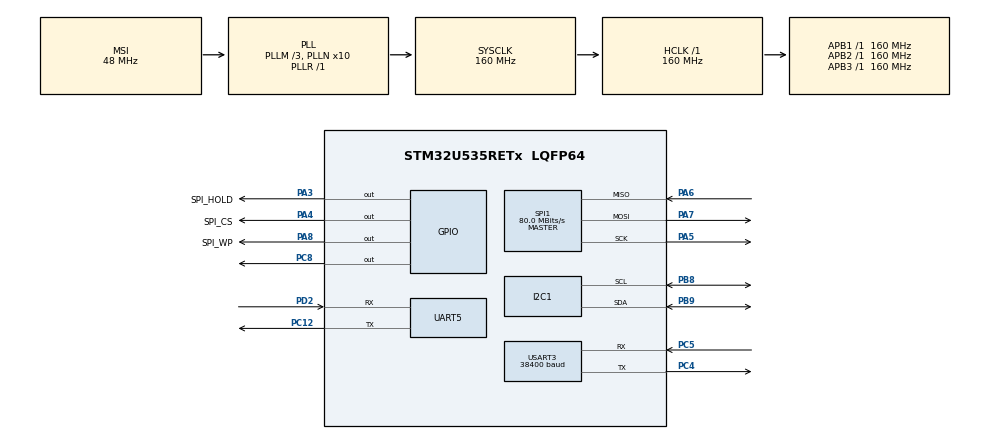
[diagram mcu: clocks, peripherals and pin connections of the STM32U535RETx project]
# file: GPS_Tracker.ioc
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CORTEX_M33_NS.userName=CORTEX_M33
I2C1.Timing=0x30909DEC
Mcu.Family=STM32U5
Mcu.Name=STM32U535RETx
Mcu.Package=LQFP64
NVIC.PriorityGroup=NVIC_PRIORITYGROUP_4
NVIC.UART5_IRQn=true\:0\:0\:false\:false\:true\:true\:true\:true
NVIC.USART3_IRQn=true\:0\:0\:false\:false\:true\:true\:true\:true
PA3.GPIO_Label=SPI_HOLD
PA3.Signal=GPIO_Output
PA4.GPIO_Label=SPI_CS
PA4.Signal=GPIO_Output
PA5.Mode=Full_Duplex_Master
PA5.Signal=SPI1_SCK
PA6.Mode=Full_Duplex_Master
PA6.Signal=SPI1_MISO
PA7.Mode=Full_Duplex_Master
PA7.Signal=SPI1_MOSI
PA8.GPIO_Label=SPI_WP
PA8.Signal=GPIO_Output
PB8.Mode=I2C
PB8.Signal=I2C1_SCL
PB9.Mode=I2C
PB9.Signal=I2C1_SDA
PC12.Mode=Asynchronous
PC12.Signal=UART5_TX
PC4.Mode=Asynchronous
PC4.Signal=USART3_TX
PC5.Mode=Asynchronous
PC5.Signal=USART3_RX
PC8.PinState=GPIO_PIN_SET
PC8.Signal=GPIO_Output
PD2.Mode=Asynchronous
PD2.Signal=UART5_RX
PH0-OSC_IN\ (PH0).Mode=HSE-External-Oscillator
PH0-OSC_IN\ (PH0).Signal=RCC_OSC_IN
PH1-OSC_OUT\ (PH1).Mode=HSE-External-Oscillator
PH1-OSC_OUT\ (PH1).Signal=RCC_OSC_OUT
ProjectManager.HeapSize=0x200
ProjectManager.StackSize=0x400
ProjectManager.TargetToolchain=STM32CubeIDE
RCC.ADCFreq_Value=16000000
RCC.AHBFreq_Value=160000000
RCC.APB1Freq_Value=160000000
RCC.APB1TimFreq_Value=160000000
RCC.APB2Freq_Value=160000000
RCC.APB2TimFreq_Value=160000000
RCC.APB3Freq_Value=160000000
RCC.CortexFreq_Value=160000000
RCC.DACCLockSelectionVirtual=RCC_DAC1CLKSOURCE_LSI
RCC.DACCLockSelectionVirtualString=RCC_DAC1CLKSOURCE_LSI
RCC.EPOD_VALUE=48000000
RCC.HCLKFreq_Value=160000000
RCC.HSE_VALUE=16000000
RCC.HSI48_VALUE=48000000
RCC.HSI_VALUE=16000000
RCC.LSE_VALUE=32768
RCC.LSIDIV_VALUE=32000
RCC.MSIClockRange=RCC_MSIRANGE_0
RCC.MSI_VALUE=48000000
RCC.PLL1R=1
RCC.PLL2FRACN=0
RCC.PLL3FRACN=0
RCC.PLLFRACN=0
RCC.PLLM=3
RCC.PLLN=10
RCC.SYSCLKFreq_VALUE=160000000
RCC.SYSCLKSource=RCC_SYSCLKSOURCE_PLLCLK
RCC.USBFreq_Value=48000000
RCC.VCOOutputFreq_Value=160000000
SPI1.CLKPhase=SPI_PHASE_1EDGE
SPI1.CLKPolarity=SPI_POLARITY_LOW
SPI1.CalculateBaudRate=80.0 MBits/s
SPI1.DataSize=SPI_DATASIZE_8BIT
SPI1.Direction=SPI_DIRECTION_2LINES
SPI1.Mode=SPI_MODE_MASTER
SPI1.VirtualType=VM_MASTER
USART3.BaudRate=38400
USART3.VirtualMode-Asynchronous=VM_ASYNC
VP_LPBAMQUEUE_VS_QUEUE.Mode=QUEUEMODE
VP_LPBAM_VS_SIG1.Mode=SmartRun
VP_LPBAM_VS_SIG4.Mode=LPDMA1
VP_MEMORYMAP_VS_MEMORYMAP.Mode=CurAppReg
VP_PWR_VS_SECSignals.Mode=Security/Privilege
board=custom

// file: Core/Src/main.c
/* USER CODE BEGIN Header */
/**
  ******************************************************************************
  * @file           : main.c
  * @brief          : Main program body
  ******************************************************************************
  * @attention
  *
  * Copyright (c) 2026 STMicroelectronics.
  * All rights reserved.
  *
  * This software is licensed under terms that can be found in the LICENSE file
  * in the root directory of this software component.
  * If no LICENSE file comes with this software, it is provided AS-IS.
  ******************************************************************************
  */
/* USER CODE END Header */
#include "main.h"

#include <string.h>
#include <stdio.h>
#include <stdlib.h>
#include "w25n01.h"
#include "lfs.h"
#include "lfs_port.h"
#include "gps_logger.h"
/* USER CODE END Includes */

I2C_HandleTypeDef hi2c1;

SPI_HandleTypeDef hspi1;

UART_HandleTypeDef huart5;
UART_HandleTypeDef huart3;

/* USER CODE BEGIN PV */
#define RX_BUFFER_SIZE 300

uint8_t rx_char;
char rx_buffer[RX_BUFFER_SIZE];
uint16_t rx_index = 0;

uint8_t uart_rx_char;
uint8_t cmd_char;
uint8_t cmd_received = 0;
typedef enum
{
    LOGGER_MODE = 0,
    MENU_MODE
} SystemMode_t;

SystemMode_t systemMode = LOGGER_MODE;

#define LIS2DH12_ADDR     (0x19 << 1)

#define CTRL_REG1         0x20
#define OUT_X_L           0x28

uint32_t last_output_time = 0;

char gps_date[16] = "NA";
char gps_time_ist[16] = "NA";

double latitude_dd = 0.0;
double longitude_dd = 0.0;

uint8_t waitingFileNumber = 0;
uint8_t waitingDeleteConfirm = 0;
uint8_t selectedFileIndex = 0;
uint8_t currentMenu = 0;

uint8_t flash_id[3];
//uint16_t flashPage = 64;

//uint8_t firstWrite = 1;
/* USER CODE END PV */

void SystemClock_Config(void);
static void MX_GPIO_Init(void);
static void MX_UART5_Init(void);
static void MX_USART3_UART_Init(void);
static void MX_I2C1_Init(void);
static void MX_SPI1_Init(void);
/* USER CODE BEGIN PFP */
void LIS2DH12_Init(void);
void LIS2DH12_Read(int16_t *x, int16_t *y, int16_t *z);

double NMEA_To_Decimal(char *coord);
void Parse_GNRMC(char *sentence);

/* USER CODE END PFP */

/* USER CODE BEGIN 0 */
int _write(int file, char *ptr, int len)
{
    HAL_UART_Transmit(&huart5, (uint8_t*)ptr, len, HAL_MAX_DELAY);
    return len;
}

void PrintMenu(void)
{
    printf("\r\n");
    printf("=================================\r\n");
    printf(" GPS LOGGER MENU\r\n");
    printf("=================================\r\n");
    printf("1. List Files\r\n");
    printf("2. Read File\r\n");
    printf("3. Download File\r\n");
    printf("4. File Size\r\n");
    printf("5. Delete File\r\n");
    printf("6. Exit Menu\r\n");
    printf("=================================\r\n");
    printf("GPS> \r\n");
}

void PrintPrompt(void)
{
	printf("GPS> \r\n");
}

void ExecuteCommand(char cmd)
{
    if(systemMode == LOGGER_MODE)
    {
    	if(cmd == 'M' || cmd == 'm')
    	{
    	    currentMenu = 0;          // Reset submenu
    	    waitingFileNumber = 0;
    	    waitingDeleteConfirm = 0;

    	    systemMode = MENU_MODE;

    	    PrintMenu();
    	}
        else
        {
            printf("Press M for Menu\r\n");
        }

        return;
    }

    if(systemMode == MENU_MODE)
    {
        switch(cmd)
        {

        case '1':
            printf("\r\n");
            GPS_ListFiles();
            PrintPrompt();
            break;

        case '2':

            GPS_ScanFiles();

            if(fileCount == 0)
            {
                printf("\r\nNo Log Files Found\r\n");
                PrintPrompt();
                break;
            }

            currentMenu = 2;

            printf("\r\n");
            printf("========== READ FILE ==========\r\n");
            printf("Select File Number (1-%d)\r\n", fileCount);
            printf("0. Back\r\n");
            printf("Choice : ");

            break;

        case '3':      // Download File
        {
            GPS_ScanFiles();

            if(fileCount == 0)
            {
                printf("\r\nNo Log Files Found\r\n");
                PrintPrompt();
                break;
            }

            currentMenu = 5;

            printf("\r\n");
            printf("\r\n========== DOWNLOAD FILE ==========\r\n");

            GPS_ListFiles();

            printf("\r\nSelect File Number (1-%d)\r\n", fileCount);
            printf("0. Back\r\n");
            printf("Choice : ");
            break;
        }

        case '4':  //File size

            GPS_ScanFiles();

            if(fileCount == 0)
            {
                printf("\r\nNo Log Files Found\r\n");
                PrintPrompt();
                break;
            }

            currentMenu = 3;

            printf("\r\n");
            printf("========== FILE SIZE ==========\r\n");
            printf("Select File Number (1-%d)\r\n", fileCount);
            printf("0. Back\r\n");
            printf("Choice : ");

            break;

        case '5':   //Delete file

            GPS_ScanFiles();

            if(fileCount == 0)
            {
                printf("\r\nNo Log Files Found\r\n");
                PrintPrompt();
                break;
            }

            currentMenu = 4;

            printf("\r\n");
            printf("========== DELETE FILE ==========\r\n");
            printf("Select File Number (1-%d)\r\n", fileCount);
            printf("0. Back\r\n");
            printf("Choice : ");

            break;

        case '6':  //exit
        {
            systemMode = LOGGER_MODE;
            currentMenu = 0;

            printf("\r\nExit Menu\r\n");

            break;
        }

        }
    }
}

void ProcessSelectedFile(uint8_t index)
{
    switch(waitingFileNumber)
    {
        case 2:
            GPS_ReadLog(fileList[index]);
            break;

        case 3:
            GPS_GetFileSize(fileList[index]);
            break;

        case 4:
            selectedFileIndex = index;
            waitingDeleteConfirm = 1;

            printf("\r\nDelete \"%s\" ? (Y/N): ",
                   fileList[selectedFileIndex]);
            break;
    }

    waitingFileNumber = 0;

    if(!waitingDeleteConfirm)
    {
        PrintPrompt();
    }
}
/* USER CODE END 0 */

int main(void)
{

  /* MCU Configuration--------------------------------------------------------*/

  /* Reset of all peripherals, Initializes the Flash interface and the Systick. */
  HAL_Init();

  /* Configure the system clock */
  SystemClock_Config();

  /* Initialize all configured peripherals */
  MX_GPIO_Init();
  MX_UART5_Init();
  MX_USART3_UART_Init();
  MX_I2C1_Init();
  MX_SPI1_Init();
  /* USER CODE BEGIN 2 */

  printf("\r\nBOOT START\r\n");

  W25N01_Init();
  W25N01_Reset();

  printf("FLASH INIT DONE\r\n");

  W25N01_SetFeature(0xA0,0x00);

  HAL_Delay(5);

  HAL_UART_Receive_IT(&huart3, &rx_char, 1);
  HAL_UART_Receive_IT(&huart5, &uart_rx_char, 1);
  HAL_Delay(100);

  LIS2DH12_Init();

  HAL_Delay(100);

  printf("\r\n=================================\r\n");
  printf(" GPS LOGGER STARTED\r\n");
  printf("=================================\r\n");

  /* Initialize LittleFS */
  littlefs_init();

  /* Mount filesystem */
  int err = lfs_mount(&lfs, &cfg);

  if (err)
  {
      printf("\r\n=================================\r\n");
      printf(" LittleFS Mount Failed!\r\n");
      printf(" Error Code : %d\r\n", err);
      printf(" Existing Data Preserved\r\n");
      printf("=================================\r\n");

      /* Do NOT format the flash */
  }
  else
  {
      printf("LittleFS Mounted Successfully\r\n");
  }

  /* USER CODE END 2 */

  /* Infinite loop */
  while (1)
  {

    /* USER CODE BEGIN 3 */
	  if (cmd_received)
	  {
	      cmd_received = 0;
	      if(waitingDeleteConfirm)
	      {
	          if(cmd_char == '\r' || cmd_char == '\n')
	          {
	              continue;
	          }

	          if(cmd_char == 'Y' || cmd_char == 'y')
	          {
	              waitingDeleteConfirm = 0;

	              printf("\r\nDeleting...\r\n\r\n");

	              if(GPS_DeleteLog(fileList[selectedFileIndex]))
	              {
	                  GPS_ScanFiles();
	              }
	          }
	          else if(cmd_char == 'N' || cmd_char == 'n')
	          {
	              waitingDeleteConfirm = 0;

	              printf("\r\nDelete Cancelled\r\n");
	          }
	          else
	          {
	              printf("\r\nInvalid Choice\r\n");
	              continue;
	          }

	          GPS_ScanFiles();

	          if(fileCount == 0)
	          {
	              currentMenu = 0;
	              printf("\r\nNo Log Files Found\r\n");
	              PrintPrompt();
	          }
	          else
	          {
	              printf("\r\n");
	              printf("========== DELETE FILE ==========\r\n");
	              printf("Select File Number (1-%d)\r\n", fileCount);
	              printf("0. Back\r\n");
	              printf("Choice : ");
	          }

	          continue;
	      }

	      if(currentMenu == 2)
	      {
	          if(cmd_char == '0')
	          {
	              currentMenu = 0;
	              PrintPrompt();
	          }
	          else
	          {
	              uint8_t index = cmd_char - '1';

	              if(index < fileCount)
	              {
	                  GPS_ReadLog(fileList[index]);
	              }
	              else
	              {
	                  printf("\r\nInvalid File Number\r\n");
	              }

	              printf("\r\n");
	              printf("Select File Number (1-%d)\r\n", fileCount);
	              printf("0. Back\r\n");
	              printf("Choice : ");
	          }

	          continue;
	      }

	      if(currentMenu == 3)
	      {
	          if(cmd_char == '0')
	          {
	              currentMenu = 0;
	              PrintPrompt();
	              continue;
	          }

	          uint8_t index = cmd_char - '1';

	          if(index < fileCount)
	          {
	              GPS_GetFileSize(fileList[index]);
	          }
	          else
	          {
	              printf("\r\nInvalid File Number\r\n");
	          }

	          printf("\r\n");
	          printf("Select File Number (1-%d)\r\n", fileCount);
	          printf("0. Back\r\n");
	          printf("Choice : ");

	          continue;
	      }

	      if(currentMenu == 4)
	      {
	    	  if(cmd_char == 0)
	    	      {
	    	          continue;
	    	      }

	          if(cmd_char == '0')
	          {
	              currentMenu = 0;
	              PrintPrompt();
	              continue;
	          }

	          uint8_t index = cmd_char - '1';

	          if(index < fileCount)
	          {
	              selectedFileIndex = index;

	              waitingDeleteConfirm = 1;

	              printf("\r\nDelete \"%s\" ? (Y/N): ",
	                     fileList[selectedFileIndex]);

	              fflush(stdout);

	              continue;
	          }
	          else
	          {
	              printf("\r\nInvalid File Number\r\n");

	              printf("\r\n");
	              printf("Select File Number (1-%d)\r\n", fileCount);
	              printf("0. Back\r\n");
	              printf("Choice : ");
	          }
	          cmd_received = 0;
	          continue;
	      }

	      if(currentMenu == 5)
	      {
	          if(cmd_char == '0')
	          {
	              currentMenu = 0;
	              PrintPrompt();
	              continue;
	          }

	          uint8_t index = cmd_char - '1';

	          if(index < fileCount)
	          {
	              GPS_DownloadLog(fileList[index]);

	              currentMenu = 0;
	              PrintPrompt();
	          }
	          else
	          {
	              printf("\r\nInvalid File Number\r\n");

	              printf("\r\n");
	              printf("========== DOWNLOAD FILE ==========\r\n");

	              GPS_ListFiles();

	              printf("\r\nSelect File Number (1-%d)\r\n", fileCount);
	              printf("0. Back\r\n");
	              printf("Choice : ");
	          }

	          continue;
	      }

	      else if(waitingFileNumber != 0)
	      {
	          uint8_t index = cmd_char - '1';

	          if(index < fileCount)
	          {
	              ProcessSelectedFile(index);
	          }
	          else
	          {
	              printf("\r\nInvalid File Number\r\n");
	          }
	      }
	      else
	      {
	          ExecuteCommand(cmd_char);
	          cmd_char = 0;
	      }
	  }

	  if(systemMode == LOGGER_MODE &&
	     HAL_GetTick() - last_output_time >= 5000)

	    {
	    	//flashPage = 64;
	        last_output_time = HAL_GetTick();

	        int16_t x, y, z;

	        LIS2DH12_Read(&x, &y, &z);

	        char logBuffer[128];
	        sprintf(logBuffer,
	                "DATE=%s TIME=%s LAT=%.6f LON=%.6f X=%d Y=%d Z=%d",
	                gps_date,
	                gps_time_ist,
	                latitude_dd,
	                longitude_dd,
	                x,
	                y,
	                z);

	        if (strcmp(gps_date, "NA") != 0)
	        {
	            printf("%s\r\n", logBuffer);
	            GPS_Log(logBuffer);
	        }
	        else
	        {
	            printf("Waiting for GPS date...\r\n");
	        }
	    }

  }
  /* USER CODE END 3 */
}

void SystemClock_Config(void)
{
  RCC_OscInitTypeDef RCC_OscInitStruct = {0};
  RCC_ClkInitTypeDef RCC_ClkInitStruct = {0};

  /** Configure the main internal regulator output voltage
  */
  if (HAL_PWREx_ControlVoltageScaling(PWR_REGULATOR_VOLTAGE_SCALE1) != HAL_OK)
  {
    Error_Handler();
  }

  /** Initializes the CPU, AHB and APB buses clocks
  */
  RCC_OscInitStruct.OscillatorType = RCC_OSCILLATORTYPE_MSI;
  RCC_OscInitStruct.MSIState = RCC_MSI_ON;
  RCC_OscInitStruct.MSICalibrationValue = RCC_MSICALIBRATION_DEFAULT;
  RCC_OscInitStruct.MSIClockRange = RCC_MSIRANGE_0;
  RCC_OscInitStruct.PLL.PLLState = RCC_PLL_ON;
  RCC_OscInitStruct.PLL.PLLSource = RCC_PLLSOURCE_MSI;
  RCC_OscInitStruct.PLL.PLLMBOOST = RCC_PLLMBOOST_DIV4;
  RCC_OscInitStruct.PLL.PLLM = 3;
  RCC_OscInitStruct.PLL.PLLN = 10;
  RCC_OscInitStruct.PLL.PLLP = 2;
  RCC_OscInitStruct.PLL.PLLQ = 2;
  RCC_OscInitStruct.PLL.PLLR = 1;
  RCC_OscInitStruct.PLL.PLLRGE = RCC_PLLVCIRANGE_1;
  RCC_OscInitStruct.PLL.PLLFRACN = 0;
  if (HAL_RCC_OscConfig(&RCC_OscInitStruct) != HAL_OK)
  {
    Error_Handler();
  }

  /** Initializes the CPU, AHB and APB buses clocks
  */
  RCC_ClkInitStruct.ClockType = RCC_CLOCKTYPE_HCLK|RCC_CLOCKTYPE_SYSCLK
                              |RCC_CLOCKTYPE_PCLK1|RCC_CLOCKTYPE_PCLK2
                              |RCC_CLOCKTYPE_PCLK3;
  RCC_ClkInitStruct.SYSCLKSource = RCC_SYSCLKSOURCE_PLLCLK;
  RCC_ClkInitStruct.AHBCLKDivider = RCC_SYSCLK_DIV1;
  RCC_ClkInitStruct.APB1CLKDivider = RCC_HCLK_DIV1;
  RCC_ClkInitStruct.APB2CLKDivider = RCC_HCLK_DIV1;
  RCC_ClkInitStruct.APB3CLKDivider = RCC_HCLK_DIV1;

  if (HAL_RCC_ClockConfig(&RCC_ClkInitStruct, FLASH_LATENCY_4) != HAL_OK)
  {
    Error_Handler();
  }

}
static void MX_I2C1_Init(void)
{

  hi2c1.Instance = I2C1;
  hi2c1.Init.Timing = 0x30909DEC;
  hi2c1.Init.OwnAddress1 = 0;
  hi2c1.Init.AddressingMode = I2C_ADDRESSINGMODE_7BIT;
  hi2c1.Init.DualAddressMode = I2C_DUALADDRESS_DISABLE;
  hi2c1.Init.OwnAddress2 = 0;
  hi2c1.Init.OwnAddress2Masks = I2C_OA2_NOMASK;
  hi2c1.Init.GeneralCallMode = I2C_GENERALCALL_DISABLE;
  hi2c1.Init.NoStretchMode = I2C_NOSTRETCH_DISABLE;
  if (HAL_I2C_Init(&hi2c1) != HAL_OK)
  {
    Error_Handler();
  }

  /** Configure Analogue filter
  */
  if (HAL_I2CEx_ConfigAnalogFilter(&hi2c1, I2C_ANALOGFILTER_ENABLE) != HAL_OK)
  {
    Error_Handler();
  }

  /** Configure Digital filter
  */
  if (HAL_I2CEx_ConfigDigitalFilter(&hi2c1, 0) != HAL_OK)
  {
    Error_Handler();
  }

}

static void MX_SPI1_Init(void)
{

  SPI_AutonomousModeConfTypeDef HAL_SPI_AutonomousMode_Cfg_Struct = {0};

  /* SPI1 parameter configuration*/
  hspi1.Instance = SPI1;
  hspi1.Init.Mode = SPI_MODE_MASTER;
  hspi1.Init.Direction = SPI_DIRECTION_2LINES;
  hspi1.Init.DataSize = SPI_DATASIZE_8BIT;
  hspi1.Init.CLKPolarity = SPI_POLARITY_HIGH;
  hspi1.Init.CLKPhase = SPI_PHASE_2EDGE;
  hspi1.Init.NSS = SPI_NSS_SOFT;
  hspi1.Init.BaudRatePrescaler = SPI_BAUDRATEPRESCALER_64;
  hspi1.Init.FirstBit = SPI_FIRSTBIT_MSB;
  hspi1.Init.TIMode = SPI_TIMODE_DISABLE;
  hspi1.Init.CRCCalculation = SPI_CRCCALCULATION_DISABLE;
  hspi1.Init.CRCPolynomial = 0x7;
  hspi1.Init.NSSPMode = SPI_NSS_PULSE_DISABLE;
  hspi1.Init.NSSPolarity = SPI_NSS_POLARITY_LOW;
  hspi1.Init.FifoThreshold = SPI_FIFO_THRESHOLD_01DATA;
  hspi1.Init.MasterSSIdleness = SPI_MASTER_SS_IDLENESS_00CYCLE;
  hspi1.Init.MasterInterDataIdleness = SPI_MASTER_INTERDATA_IDLENESS_00CYCLE;
  hspi1.Init.MasterReceiverAutoSusp = SPI_MASTER_RX_AUTOSUSP_DISABLE;
  hspi1.Init.MasterKeepIOState = SPI_MASTER_KEEP_IO_STATE_DISABLE;
  hspi1.Init.IOSwap = SPI_IO_SWAP_DISABLE;
  hspi1.Init.ReadyMasterManagement = SPI_RDY_MASTER_MANAGEMENT_INTERNALLY;
  hspi1.Init.ReadyPolarity = SPI_RDY_POLARITY_HIGH;
  if (HAL_SPI_Init(&hspi1) != HAL_OK)
  {
    Error_Handler();
  }
  HAL_SPI_AutonomousMode_Cfg_Struct.TriggerState = SPI_AUTO_MODE_DISABLE;
  HAL_SPI_AutonomousMode_Cfg_Struct.TriggerSelection = SPI_GRP1_GPDMA_CH0_TCF_TRG;
  HAL_SPI_AutonomousMode_Cfg_Struct.TriggerPolarity = SPI_TRIG_POLARITY_RISING;
  if (HAL_SPIEx_SetConfigAutonomousMode(&hspi1, &HAL_SPI_AutonomousMode_Cfg_Struct) != HAL_OK)
  {
    Error_Handler();
  }

}

static void MX_UART5_Init(void)
{

  huart5.Instance = UART5;
  huart5.Init.BaudRate = 115200;
  huart5.Init.WordLength = UART_WORDLENGTH_8B;
  huart5.Init.StopBits = UART_STOPBITS_1;
  huart5.Init.Parity = UART_PARITY_NONE;
  huart5.Init.Mode = UART_MODE_TX_RX;
  huart5.Init.HwFlowCtl = UART_HWCONTROL_NONE;
  huart5.Init.OverSampling = UART_OVERSAMPLING_16;
  huart5.Init.OneBitSampling = UART_ONE_BIT_SAMPLE_DISABLE;
  huart5.Init.ClockPrescaler = UART_PRESCALER_DIV1;
  huart5.AdvancedInit.AdvFeatureInit = UART_ADVFEATURE_NO_INIT;
  if (HAL_UART_Init(&huart5) != HAL_OK)
  {
    Error_Handler();
  }
  if (HAL_UARTEx_SetTxFifoThreshold(&huart5, UART_TXFIFO_THRESHOLD_1_8) != HAL_OK)
  {
    Error_Handler();
  }
  if (HAL_UARTEx_SetRxFifoThreshold(&huart5, UART_RXFIFO_THRESHOLD_1_8) != HAL_OK)
  {
    Error_Handler();
  }
  if (HAL_UARTEx_DisableFifoMode(&huart5) != HAL_OK)
  {
    Error_Handler();
  }

}

static void MX_USART3_UART_Init(void)
{

  huart3.Instance = USART3;
  huart3.Init.BaudRate = 38400;
  huart3.Init.WordLength = UART_WORDLENGTH_8B;
  huart3.Init.StopBits = UART_STOPBITS_1;
  huart3.Init.Parity = UART_PARITY_NONE;
  huart3.Init.Mode = UART_MODE_TX_RX;
  huart3.Init.HwFlowCtl = UART_HWCONTROL_NONE;
  huart3.Init.OverSampling = UART_OVERSAMPLING_16;
  huart3.Init.OneBitSampling = UART_ONE_BIT_SAMPLE_DISABLE;
  huart3.Init.ClockPrescaler = UART_PRESCALER_DIV1;
  huart3.AdvancedInit.AdvFeatureInit = UART_ADVFEATURE_NO_INIT;
  if (HAL_UART_Init(&huart3) != HAL_OK)
  {
    Error_Handler();
  }
  if (HAL_UARTEx_SetTxFifoThreshold(&huart3, UART_TXFIFO_THRESHOLD_1_8) != HAL_OK)
  {
    Error_Handler();
  }
  if (HAL_UARTEx_SetRxFifoThreshold(&huart3, UART_RXFIFO_THRESHOLD_1_8) != HAL_OK)
  {
    Error_Handler();
  }
  if (HAL_UARTEx_DisableFifoMode(&huart3) != HAL_OK)
  {
    Error_Handler();
  }

}

static void MX_GPIO_Init(void)
{
  GPIO_InitTypeDef GPIO_InitStruct = {0};

  /* GPIO Ports Clock Enable */
  __HAL_RCC_GPIOH_CLK_ENABLE();
  __HAL_RCC_GPIOA_CLK_ENABLE();
  __HAL_RCC_GPIOC_CLK_ENABLE();
  __HAL_RCC_GPIOD_CLK_ENABLE();
  __HAL_RCC_GPIOB_CLK_ENABLE();

  /*Configure GPIO pin Output Level */
  HAL_GPIO_WritePin(GPIOA,
                    SPI_HOLD_Pin|SPI_CS_Pin|SPI_WP_Pin,
                    GPIO_PIN_SET);
  /*Configure GPIO pin Output Level */
  HAL_GPIO_WritePin(GPIOC, GPIO_PIN_8, GPIO_PIN_SET);

  /*Configure GPIO pins : SPI_HOLD_Pin SPI_CS_Pin SPI_WP_Pin */
  GPIO_InitStruct.Pin = SPI_HOLD_Pin|SPI_CS_Pin|SPI_WP_Pin;
  GPIO_InitStruct.Mode = GPIO_MODE_OUTPUT_PP;
  GPIO_InitStruct.Pull = GPIO_NOPULL;
  GPIO_InitStruct.Speed = GPIO_SPEED_FREQ_LOW;
  HAL_GPIO_Init(GPIOA, &GPIO_InitStruct);

  /*Configure GPIO pin : PC8 */
  GPIO_InitStruct.Pin = GPIO_PIN_8;
  GPIO_InitStruct.Mode = GPIO_MODE_OUTPUT_PP;
  GPIO_InitStruct.Pull = GPIO_NOPULL;
  GPIO_InitStruct.Speed = GPIO_SPEED_FREQ_LOW;
  HAL_GPIO_Init(GPIOC, &GPIO_InitStruct);

}

/* USER CODE BEGIN 4 */

void LIS2DH12_Init(void)
{
    uint8_t data;

    // 100Hz, XYZ enable
    data = 0x57;
    HAL_I2C_Mem_Write(&hi2c1,
                      LIS2DH12_ADDR,
                      CTRL_REG1,
                      I2C_MEMADD_SIZE_8BIT,
                      &data,
                      1,
                      HAL_MAX_DELAY);

    // High resolution, BDU enable, ±2g
    data = 0x88;
    HAL_I2C_Mem_Write(&hi2c1,
                      LIS2DH12_ADDR,
                      0x23,
                      I2C_MEMADD_SIZE_8BIT,
                      &data,
                      1,
                      HAL_MAX_DELAY);
}

void LIS2DH12_Read(int16_t *x, int16_t *y, int16_t *z)
{
    uint8_t rawData[6];
    int16_t raw_x, raw_y, raw_z;

    HAL_I2C_Mem_Read(&hi2c1,
                     LIS2DH12_ADDR,
                     OUT_X_L | 0x80,
                     I2C_MEMADD_SIZE_8BIT,
                     rawData,
                     6,
                     HAL_MAX_DELAY);

    raw_x = (int16_t)((rawData[1] << 8) | rawData[0]);
    raw_y = (int16_t)((rawData[3] << 8) | rawData[2]);
    raw_z = (int16_t)((rawData[5] << 8) | rawData[4]);

    // 12-bit data in high-resolution mode
    raw_x = raw_x / 16;
    raw_y = raw_y / 16;
    raw_z = raw_z / 16;

    *x = raw_x;
    *y = raw_y;
    *z = raw_z;
}
double NMEA_To_Decimal(char *coord)
{
    double value;
    int degrees;
    double minutes;

    value = atof(coord);

    degrees = (int)(value / 100);

    minutes = value - (degrees * 100);

    return degrees + (minutes / 60.0);
}

void Parse_GNRMC(char *sentence)
{
    char temp[150];

    strcpy(temp, sentence);

    char *token;
    uint8_t field = 0;

    char raw_time[20] = {0};

    char raw_lat[20] = {0};
    char lat_dir = 'N';

    char raw_lon[20] = {0};
    char lon_dir = 'E';

    char *ptr = temp;

    /* -----------------------------------------
       Extract required fields from GNRMC
       ----------------------------------------- */

    while((token = strsep(&ptr, ",")) != NULL)
    {
        switch(field)
        {
            /* UTC Time */
            case 1:

                strcpy(raw_time, token);

                break;

            /* Latitude */
            case 3:

                strcpy(raw_lat, token);

                break;

            /* Latitude Direction */
            case 4:

                lat_dir = token[0];

                break;

            /* Longitude */
            case 5:

                strcpy(raw_lon, token);

                break;

            /* Longitude Direction */
            case 6:

                lon_dir = token[0];

                break;

            /* UTC Date */
            case 9:

                if(strlen(token) > 0)
                {
                    strcpy(gps_date, token);
                }

                break;
        }

        field++;
    }

    /* -----------------------------------------
       Convert UTC Time to IST
       ----------------------------------------- */

    int hh;
    int mm;
    int ss;

    sscanf(raw_time,
           "%2d%2d%2d",
           &hh,
           &mm,
           &ss);

    /* Add 5 hours 30 minutes */

    hh += 5;
    mm += 30;

    /* Handle minute overflow */

    if(mm >= 60)
    {
        mm -= 60;
        hh++;
    }

    /* -----------------------------------------
       Handle IST Date Change
       ----------------------------------------- */

    if(hh >= 24)
    {
        hh -= 24;

        /*
         * IST has moved to the next date.
         *
         * gps_date format:
         * DDMMYY
         */

        int day;
        int month;
        int year;
        int daysInMonth;

        sscanf(gps_date,
               "%2d%2d%2d",
               &day,
               &month,
               &year);

        /* Find number of days in current month */

        if(month == 2)
        {
            /* Leap year */

            if((year % 4) == 0)
            {
                daysInMonth = 29;
            }
            else
            {
                daysInMonth = 28;
            }
        }
        else if(month == 4 ||
                month == 6 ||
                month == 9 ||
                month == 11)
        {
            daysInMonth = 30;
        }
        else
        {
            daysInMonth = 31;
        }

        /* Move to next day */

        day++;

        /* If month is completed */

        if(day > daysInMonth)
        {
            day = 1;
            month++;

            /* If year is completed */

            if(month > 12)
            {
                month = 1;
                year++;

                if(year > 99)
                {
                    year = 0;
                }
            }
        }

        /* Store updated date */

        sprintf(gps_date,
                "%02d%02d%02d",
                day,
                month,
                year);
    }

    /* -----------------------------------------
       Store IST Time
       ----------------------------------------- */

    sprintf(gps_time_ist,
            "%02d:%02d:%02d",
            hh,
            mm,
            ss);

    /* -----------------------------------------
       Convert Latitude
       ----------------------------------------- */

    if(strlen(raw_lat) > 0)
    {
        latitude_dd = NMEA_To_Decimal(raw_lat);

        if(lat_dir == 'S')
        {
            latitude_dd = -latitude_dd;
        }
    }

    /* -----------------------------------------
       Convert Longitude
       ----------------------------------------- */

    if(strlen(raw_lon) > 0)
    {
        longitude_dd = NMEA_To_Decimal(raw_lon);

        if(lon_dir == 'W')
        {
            longitude_dd = -longitude_dd;
        }
    }
}

void HAL_UART_RxCpltCallback(UART_HandleTypeDef *huart)
{
	if (huart->Instance == UART5)
	{
	    cmd_char = uart_rx_char;      // Copy received byte
	    cmd_received = 1;

	    HAL_UART_Receive_IT(&huart5, &uart_rx_char, 1);
	}
    if (huart->Instance == USART3)
    {
        if (rx_char == '$')
        {
            rx_index = 0;
            rx_buffer[rx_index++] = rx_char;
        }
        else if (rx_char == '\n' || rx_char == '\r')
        {
            rx_buffer[rx_index] = '\0';

            if (strstr(rx_buffer, "$GNRMC"))
            {
                Parse_GNRMC(rx_buffer);
            }

            rx_index = 0;
        }
        else
        {
            if (rx_index < RX_BUFFER_SIZE - 1)
            {
                rx_buffer[rx_index++] = rx_char;
            }
        }

        HAL_UART_Receive_IT(&huart3, &rx_char, 1);
    }
}

/* USER CODE END 4 */

void Error_Handler(void)
{
  __disable_irq();
  while (1)
  {
  }
}
